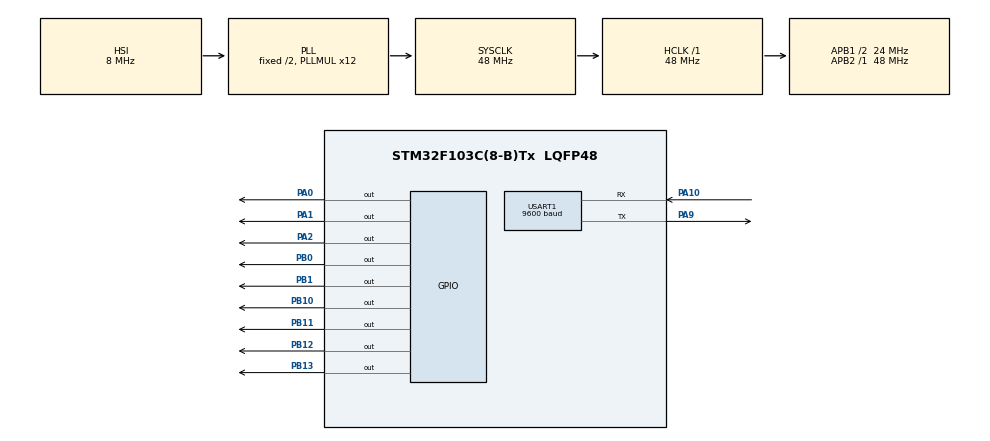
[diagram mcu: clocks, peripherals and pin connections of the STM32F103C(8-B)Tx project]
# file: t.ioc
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Mcu.Family=STM32F1
Mcu.Name=STM32F103C(8-B)Tx
Mcu.Package=LQFP48
NVIC.PriorityGroup=NVIC_PRIORITYGROUP_4
NVIC.TIM2_IRQn=true\:0\:0\:false\:false\:true\:true\:true\:true
NVIC.USART1_IRQn=true\:0\:0\:false\:false\:true\:true\:true\:true
PA0-WKUP.Signal=GPIO_Output
PA1.Signal=GPIO_Output
PA10.Mode=Asynchronous
PA10.Signal=USART1_RX
PA2.Signal=GPIO_Output
PA9.Mode=Asynchronous
PA9.Signal=USART1_TX
PB0.Signal=GPIO_Output
PB1.Signal=GPIO_Output
PB10.Signal=GPIO_Output
PB11.Signal=GPIO_Output
PB12.Signal=GPIO_Output
PB13.Signal=GPIO_Output
ProjectManager.HeapSize=0x200
ProjectManager.StackSize=0x400
ProjectManager.TargetToolchain=STM32CubeIDE
RCC.AHBFreq_Value=48000000
RCC.APB1CLKDivider=RCC_HCLK_DIV2
RCC.APB1Freq_Value=24000000
RCC.APB1TimFreq_Value=48000000
RCC.APB2Freq_Value=48000000
RCC.APB2TimFreq_Value=48000000
RCC.HCLKFreq_Value=48000000
RCC.PLLMUL=RCC_PLL_MUL12
RCC.SYSCLKFreq_VALUE=48000000
RCC.SYSCLKSource=RCC_SYSCLKSOURCE_PLLCLK
RCC.USBFreq_Value=48000000
TIM2.Period=47999
TIM2.Prescaler=0
USART1.BaudRate=9600
USART1.VirtualMode=VM_ASYNC
VP_TIM2_VS_ClockSourceINT.Mode=Internal
board=custom

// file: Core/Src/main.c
/* USER CODE BEGIN Header */
/**
 ******************************************************************************
 * @file           : main.c
 * @brief          : Main program body
 ******************************************************************************
 * @attention
 *
 * Copyright (c) 2023 STMicroelectronics.
 * All rights reserved.
 *
 * This software is licensed under terms that can be found in the LICENSE file
 * in the root directory of this software component.
 * If no LICENSE file comes with this software, it is provided AS-IS.
 *
 ******************************************************************************
 */
/* USER CODE END Header */
#include "main.h"

/* USER CODE BEGIN Includes */
#include "string.h"
#include <stdlib.h>
/* USER CODE END Includes */

TIM_HandleTypeDef htim2;

UART_HandleTypeDef huart1;

/* USER CODE BEGIN PV */
char input = '0';
int percent = 0;
int entered = 0;
int sentenceTurn = 0;
char str1[1000] = "hello world";
char str2[1000] = "world hello";
int fiveSec = 0;
int wordEnterd = 0;
/* USER CODE END PV */

void SystemClock_Config(void);
static void MX_GPIO_Init(void);
static void MX_TIM2_Init(void);
static void MX_USART1_UART_Init(void);
/* USER CODE BEGIN PFP */
void decode(int num, int BCD[4]);
int compare(char *str1, char *str2);
/* USER CODE END PFP */

int main(void) {

	/* MCU Configuration--------------------------------------------------------*/

	/* Reset of all peripherals, Initializes the Flash interface and the Systick. */
	HAL_Init();

	/* Configure the system clock */
	SystemClock_Config();

	/* Initialize all configured peripherals */
	MX_GPIO_Init();
	MX_TIM2_Init();
	MX_USART1_UART_Init();
	/* USER CODE BEGIN 2 */
	HAL_TIM_Base_Start_IT(&htim2);
	HAL_UART_Receive_IT(&huart1, &input, sizeof(input));
	/* USER CODE END 2 */

	/* Infinite loop */
	while (1) {

	}
}

void SystemClock_Config(void) {
	RCC_OscInitTypeDef RCC_OscInitStruct = { 0 };
	RCC_ClkInitTypeDef RCC_ClkInitStruct = { 0 };

	/** Initializes the RCC Oscillators according to the specified parameters
	 * in the RCC_OscInitTypeDef structure.
	 */
	RCC_OscInitStruct.OscillatorType = RCC_OSCILLATORTYPE_HSI;
	RCC_OscInitStruct.HSIState = RCC_HSI_ON;
	RCC_OscInitStruct.HSICalibrationValue = RCC_HSICALIBRATION_DEFAULT;
	RCC_OscInitStruct.PLL.PLLState = RCC_PLL_ON;
	RCC_OscInitStruct.PLL.PLLSource = RCC_PLLSOURCE_HSI_DIV2;
	RCC_OscInitStruct.PLL.PLLMUL = RCC_PLL_MUL12;
	if (HAL_RCC_OscConfig(&RCC_OscInitStruct) != HAL_OK) {
		Error_Handler();
	}

	/** Initializes the CPU, AHB and APB buses clocks
	 */
	RCC_ClkInitStruct.ClockType = RCC_CLOCKTYPE_HCLK | RCC_CLOCKTYPE_SYSCLK
			| RCC_CLOCKTYPE_PCLK1 | RCC_CLOCKTYPE_PCLK2;
	RCC_ClkInitStruct.SYSCLKSource = RCC_SYSCLKSOURCE_PLLCLK;
	RCC_ClkInitStruct.AHBCLKDivider = RCC_SYSCLK_DIV1;
	RCC_ClkInitStruct.APB1CLKDivider = RCC_HCLK_DIV2;
	RCC_ClkInitStruct.APB2CLKDivider = RCC_HCLK_DIV1;

	if (HAL_RCC_ClockConfig(&RCC_ClkInitStruct, FLASH_LATENCY_1) != HAL_OK) {
		Error_Handler();
	}
}

static void MX_TIM2_Init(void) {

	TIM_ClockConfigTypeDef sClockSourceConfig = { 0 };
	TIM_MasterConfigTypeDef sMasterConfig = { 0 };

	htim2.Instance = TIM2;
	htim2.Init.Prescaler = 0;
	htim2.Init.CounterMode = TIM_COUNTERMODE_UP;
	htim2.Init.Period = 47999;
	htim2.Init.ClockDivision = TIM_CLOCKDIVISION_DIV1;
	htim2.Init.AutoReloadPreload = TIM_AUTORELOAD_PRELOAD_DISABLE;
	if (HAL_TIM_Base_Init(&htim2) != HAL_OK) {
		Error_Handler();
	}
	sClockSourceConfig.ClockSource = TIM_CLOCKSOURCE_INTERNAL;
	if (HAL_TIM_ConfigClockSource(&htim2, &sClockSourceConfig) != HAL_OK) {
		Error_Handler();
	}
	sMasterConfig.MasterOutputTrigger = TIM_TRGO_RESET;
	sMasterConfig.MasterSlaveMode = TIM_MASTERSLAVEMODE_DISABLE;
	if (HAL_TIMEx_MasterConfigSynchronization(&htim2, &sMasterConfig)
			!= HAL_OK) {
		Error_Handler();
	}

}

static void MX_USART1_UART_Init(void) {

	huart1.Instance = USART1;
	huart1.Init.BaudRate = 9600;
	huart1.Init.WordLength = UART_WORDLENGTH_8B;
	huart1.Init.StopBits = UART_STOPBITS_1;
	huart1.Init.Parity = UART_PARITY_NONE;
	huart1.Init.Mode = UART_MODE_TX_RX;
	huart1.Init.HwFlowCtl = UART_HWCONTROL_NONE;
	huart1.Init.OverSampling = UART_OVERSAMPLING_16;
	if (HAL_UART_Init(&huart1) != HAL_OK) {
		Error_Handler();
	}

}

static void MX_GPIO_Init(void) {
	GPIO_InitTypeDef GPIO_InitStruct = { 0 };

	/* GPIO Ports Clock Enable */
	__HAL_RCC_GPIOA_CLK_ENABLE();
	__HAL_RCC_GPIOB_CLK_ENABLE();

	/*Configure GPIO pin Output Level */
	HAL_GPIO_WritePin(GPIOA, GPIO_PIN_0 | GPIO_PIN_1 | GPIO_PIN_2,
			GPIO_PIN_RESET);

	/*Configure GPIO pin Output Level */
	HAL_GPIO_WritePin(GPIOB,
			GPIO_PIN_0 | GPIO_PIN_1 | GPIO_PIN_10 | GPIO_PIN_11 | GPIO_PIN_12
					| GPIO_PIN_13, GPIO_PIN_RESET);

	/*Configure GPIO pins : PA0 PA1 PA2 */
	GPIO_InitStruct.Pin = GPIO_PIN_0 | GPIO_PIN_1 | GPIO_PIN_2;
	GPIO_InitStruct.Mode = GPIO_MODE_OUTPUT_PP;
	GPIO_InitStruct.Pull = GPIO_NOPULL;
	GPIO_InitStruct.Speed = GPIO_SPEED_FREQ_LOW;
	HAL_GPIO_Init(GPIOA, &GPIO_InitStruct);

	/*Configure GPIO pins : PB0 PB1 PB10 PB11
	 PB12 PB13 */
	GPIO_InitStruct.Pin = GPIO_PIN_0 | GPIO_PIN_1 | GPIO_PIN_10 | GPIO_PIN_11
			| GPIO_PIN_12 | GPIO_PIN_13;
	GPIO_InitStruct.Mode = GPIO_MODE_OUTPUT_PP;
	GPIO_InitStruct.Pull = GPIO_NOPULL;
	GPIO_InitStruct.Speed = GPIO_SPEED_FREQ_LOW;
	HAL_GPIO_Init(GPIOB, &GPIO_InitStruct);

}

/* USER CODE BEGIN 4 */
void HAL_TIM_PeriodElapsedCallback(TIM_HandleTypeDef *htim) {
	static int counter = 0;
	static int bcd[4] = { 0 };
	//	GPIOB
	static uint16_t IC[4] = { GPIO_PIN_0, GPIO_PIN_1, GPIO_PIN_10, GPIO_PIN_11 };

	static int state = 0;

	static int fiveSecond = 5000;
	static int oneSec = 1000;

	static exLedFreq = 100;
	if (htim->Instance == TIM2) {
		if (counter == 100) {
			counter = 0;
			if (entered == 0) {
				HAL_GPIO_TogglePin(GPIOB, GPIO_PIN_12 | GPIO_PIN_13);
			}
		}

		int temp = percent;
		if (state == 0) {
			state++;
			HAL_GPIO_WritePin(GPIOA, GPIO_PIN_1 | GPIO_PIN_2, GPIO_PIN_SET);
			HAL_GPIO_WritePin(GPIOA, GPIO_PIN_0, GPIO_PIN_RESET);
			decode(percent / 100, bcd);
			for (int i = 0; i < 4; i++) {
				HAL_GPIO_WritePin(GPIOB, IC[i], bcd[i]);
			}
		} else if (state == 1) {
			state++;
			HAL_GPIO_WritePin(GPIOA, GPIO_PIN_0 | GPIO_PIN_2, GPIO_PIN_SET);
			HAL_GPIO_WritePin(GPIOA, GPIO_PIN_1, GPIO_PIN_RESET);
			decode((percent / 10) % 10, bcd);
			for (int i = 0; i < 4; i++) {
				HAL_GPIO_WritePin(GPIOB, IC[i], bcd[i]);
			}
		} else if (state == 2) {
			state = 0;
			HAL_GPIO_WritePin(GPIOA, GPIO_PIN_0 | GPIO_PIN_1, GPIO_PIN_SET);
			HAL_GPIO_WritePin(GPIOA, GPIO_PIN_2, GPIO_PIN_RESET);
			decode(percent % 10, bcd);
			for (int i = 0; i < 4; i++) {
				HAL_GPIO_WritePin(GPIOB, IC[i], bcd[i]);
			}
		}

		if (wordEnterd) {
			if (oneSec % exLedFreq == 0) {
				HAL_GPIO_TogglePin(GPIOB, GPIO_PIN_13);
			}
		} else if (fiveSec) {
			if (fiveSecond % exLedFreq == 0) {
				HAL_GPIO_TogglePin(GPIOB, GPIO_PIN_13);
			}
		} else if (entered) {
			HAL_GPIO_WritePin(GPIOB, GPIO_PIN_13, GPIO_PIN_RESET);
		}

		if (percent >= 60) {
			HAL_GPIO_WritePin(GPIOB, GPIO_PIN_12, GPIO_PIN_SET);
		} else if (entered && percent < 60) {
			HAL_GPIO_WritePin(GPIOB, GPIO_PIN_12, GPIO_PIN_RESET);
		}
		if (fiveSec) {
			fiveSecond--;
			if (fiveSecond == 0) {
				fiveSecond = 5000;
				fiveSec = 0;
			}

		} else if (wordEnterd) {
			oneSec--;
			if (oneSec == 0) {
				wordEnterd = 0;
				oneSec = 1000;
			}
		}
		counter++;
		percent = compare(str1, str2);

	}
}

void HAL_UART_RxCpltCallback(UART_HandleTypeDef *huart) {
	static index = 0;
	static char str3[1000];
	static char str4[1000];
	if (huart->Instance == USART1) {
		if (entered == 0) {
			entered = 1;
		}
		if ((int) input == 32) {
			wordEnterd = 1;
			HAL_GPIO_WritePin(GPIOB, GPIO_PIN_13, GPIO_PIN_SET);
		}

		if ((int) input == 13) {
			sentenceTurn++;
			index = 0;
			fiveSec = 1;

		} else if (sentenceTurn == 0) {
			str1[index] = input;
			str1[index + 1] = '\0';
		} else if (sentenceTurn == 1) {
			str2[index] = input;
			str2[index + 1] = '\0';
		}

		if (sentenceTurn == 2) {
//			if (!strcmp(str1, str2)){
//				HAL_GPIO_WritePin(GPIOB, GPIO_PIN_12, GPIO_PIN_SET);
			strcpy(str3, str1);
			strcpy(str4, str2);
				percent = compare(str3, str4);
//			}
		}
		HAL_UART_Receive_IT(&huart1, &input, sizeof(input));
		HAL_UART_Transmit_DMA(huart1, &input, sizeof(char));
	}
}

void decode(int num, int BCD[4]) {
	switch (num) {
	case 0:
		BCD[3] = 0;
		BCD[2] = 0;
		BCD[1] = 0;
		BCD[0] = 0;
		break;
	case 1:
		BCD[3] = 0;
		BCD[2] = 0;
		BCD[1] = 0;
		BCD[0] = 1;
		break;
	case 2:
		BCD[3] = 0;
		BCD[2] = 0;
		BCD[1] = 1;
		BCD[0] = 0;
		break;
	case 3:
		BCD[3] = 0;
		BCD[2] = 0;
		BCD[1] = 1;
		BCD[0] = 1;
		break;
	case 4:
		BCD[3] = 0;
		BCD[2] = 1;
		BCD[1] = 0;
		BCD[0] = 0;
		break;
	case 5:
		BCD[3] = 0;
		BCD[2] = 1;
		BCD[1] = 0;
		BCD[0] = 1;
		break;
	case 6:
		BCD[3] = 0;
		BCD[2] = 1;
		BCD[1] = 1;
		BCD[0] = 0;
		break;
	case 7:
		BCD[3] = 0;
		BCD[2] = 1;
		BCD[1] = 1;
		BCD[0] = 1;
		break;
	case 8:
		BCD[3] = 1;
		BCD[2] = 0;
		BCD[1] = 0;
		BCD[0] = 0;
		break;
	case 9:
		BCD[3] = 1;
		BCD[2] = 0;
		BCD[1] = 0;
		BCD[0] = 1;
		break;
	default:
		break;
	}
}

int compare(char *str1, char *str2) {
    int str1_length = strlen(str1);
    int str2_length = strlen(str2);
    char *words1[200];
    char *words2[200];
    char *word;
    int i, j, count1 = 0, count2 = 0, similar1 = 0;
    float similar_words = 0;
    // Split string1 into words
    word = strtok(str1, " ");
    count1++;
    while (word != NULL && count1 < 200) {
        words1[count1++] = word;
        word = strtok(NULL, " ");
    }

    // Split string2 into words
    word = strtok(str2, " ");
    count2++;
    while (word != NULL && count2 < 200) {
        words2[count2++] = word;
        word = strtok(NULL, " ");
    }

    long int index_1 = 0;
    long int index_2 = 0;
    // Compare the words in both strings
    for (i = 0; i < count1; i++) {
        index_2 = 0;
        for (j = 0; j < count2; j++) {
            if (strcmp(words1[i], words2[j]) == 0) {
                similar_words += 1.0 - abs(index_2 - index_1) / ((str1_length + str2_length) / 2.0);
                break;
            }
            index_2 += strlen(words2[j]);
        }
        index_1 += strlen(words1[i]);
    }
    // for (i = 0; i < count1; i++){
    // 	if(strstr(str2, words1[i]) != NULL){
    // 		similar1++;
    // 	}
    // }
    // hello new world
    // world counter hi hello

    // Calculate similarity percentage
    if (count1 == 0 || count2 == 0) {
        return 0;
    } else {
        float similarity = (similar_words * 100.0) / ((count1 + count2) / 2.0);
        return (int)similarity;
    }
}

/* USER CODE END 4 */

void Error_Handler(void) {
	__disable_irq();
	while (1) {
	}
}
